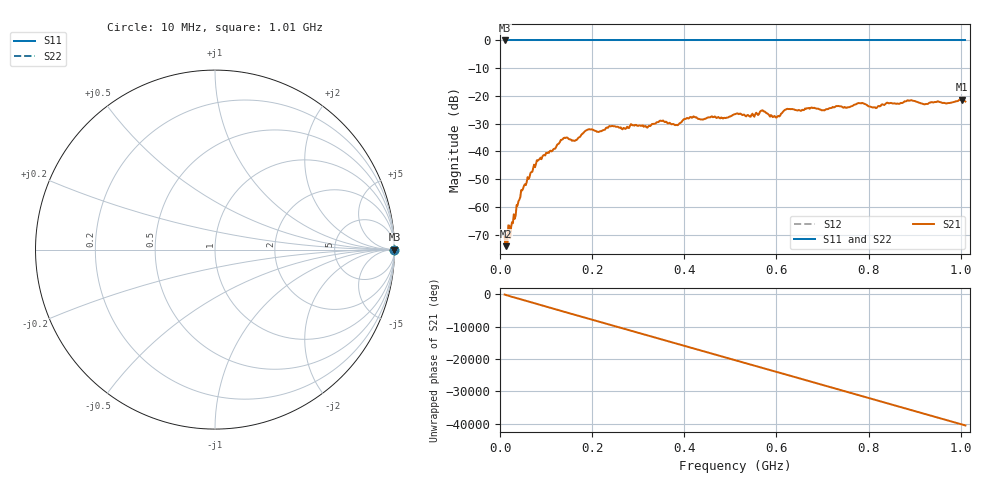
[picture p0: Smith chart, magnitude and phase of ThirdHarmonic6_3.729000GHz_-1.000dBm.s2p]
! 8/17/2025 12:44:26 PM
! C:\ANRITSUVNA\TEMP\TEMP.S2P
! CHANNEL.1
! TR.MEASUREMENT
! RAW.DATA
! RF.CORRECTION.OFF
! AVERAGING.OFF
! IF.BANDWIDTH: 5KHZ
! SWEEPTYPE:  FREQ.SWEEP(Linear)
! Reference Plane Port Info
! PORT:  PORT1  PORT2
! DISTANCE:  0  m  0  m
! TIME:  0  s  0  s
! PHASE.OFFSET:  0  deg.  0  deg.
! LOSS:  0  dB  0  dB
! REF.LOSS:  0  dB  0  dB
! REF.FREQ:  0  Hz  0  Hz
! Power Info
! POWER:  -20  dBm  -20  dBm
! EFF.POWER:  -20  dBm  -20  dBm
! SOURCE.ATTEN:  0  dB  0  dB
! TEST.ATTEN:  0  dB  0  dB
# GHZ S RI R 50.0
! FREQ.GHZ  S11RE  S11IM  S21RE  S21IM  S12RE  S12IM  S22RE  S22IM
!; PortSelection: Port_12
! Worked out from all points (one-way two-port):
!   501 points, 10 MHz to 1.01 GHz, reference 50 ohm
!   highest |S21| = -21.32 dB at 1.002 GHz (marker M1); lowest = -74.1 dB at 12 MHz (marker M2)
!   lowest |S11| = 0.0 dB at 10 MHz (marker M3)
!   |S11| at or under -10 dB: nowhere
!   |S22| runs from 0.0 to 0.0 dB; largest |S21 - S12| = 1.1
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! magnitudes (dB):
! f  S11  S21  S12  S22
! 10 MHz  0.0  -70.8  0.0  0.0
! 12 MHz  0.0  -74.1  0.0  0.0
! 26 MHz  0.0  -65.5  0.0  0.0
! 50 MHz  0.0  -53.4  0.0  0.0
! 84 MHz  0.0  -43.0  0.0  0.0
! 136 MHz  0.0  -35.6  0.0  0.0
! 162 MHz  0.0  -36.2  0.0  0.0
! 178 MHz  0.0  -33.7  0.0  0.0
! 192 MHz  0.0  -32.0  0.0  0.0
! 344 MHz  0.0  -29.4  0.0  0.0
! 384 MHz  0.0  -30.5  0.0  0.0
! 416 MHz  0.0  -27.9  0.0  0.0
! 510 MHz  0.0  -26.6  0.0  0.0
! 570 MHz  0.0  -25.2  0.0  0.0
! 602 MHz  0.0  -27.4  0.0  0.0
! 622 MHz  0.0  -24.7  0.0  0.0
! 678 MHz  0.0  -24.3  0.0  0.0
! 782 MHz  0.0  -22.6  0.0  0.0
! 814 MHz  0.0  -24.1  0.0  0.0
! 844 MHz  0.0  -22.7  0.0  0.0
! 1.002 GHz  0.0  -21.3  0.0  0.0
! 1.01 GHz  0.0  -22.0  0.0  0.0
